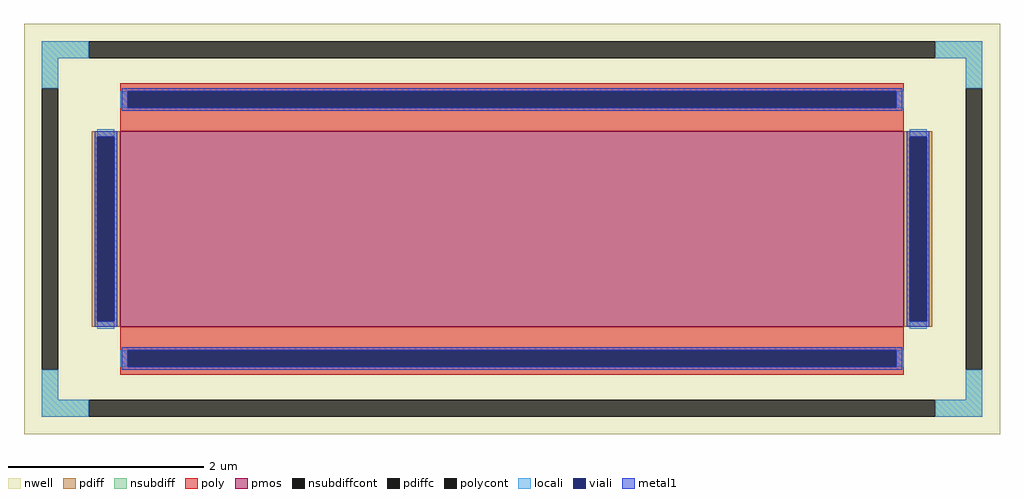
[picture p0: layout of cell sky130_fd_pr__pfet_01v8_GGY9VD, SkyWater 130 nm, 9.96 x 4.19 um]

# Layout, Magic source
magic
tech sky130A
magscale 1 2
<< nwell >>
rect -996 -419 996 419
<< pmos >>
rect -800 -200 800 200
<< pdiff >>
rect -858 188 -800 200
rect -858 -188 -846 188
rect -812 -188 -800 188
rect -858 -200 -800 -188
rect 800 188 858 200
rect 800 -188 812 188
rect 846 -188 858 188
rect 800 -200 858 -188
<< pdiffc >>
rect -846 -188 -812 188
rect 812 -188 846 188
<< nsubdiff >>
rect -960 349 -864 383
rect 864 349 960 383
rect -960 287 -926 349
rect 926 287 960 349
rect -960 -349 -926 -287
rect 926 -349 960 -287
rect -960 -383 -864 -349
rect 864 -383 960 -349
<< nsubdiffcont >>
rect -864 349 864 383
rect -960 -287 -926 287
rect 926 -287 960 287
rect -864 -383 864 -349
<< poly >>
rect -800 281 800 297
rect -800 247 -784 281
rect 784 247 800 281
rect -800 200 800 247
rect -800 -247 800 -200
rect -800 -281 -784 -247
rect 784 -281 800 -247
rect -800 -297 800 -281
<< polycont >>
rect -784 247 784 281
rect -784 -281 784 -247
<< locali >>
rect -960 349 -864 383
rect 864 349 960 383
rect -960 287 -926 349
rect 926 287 960 349
rect -800 247 -784 281
rect 784 247 800 281
rect -846 188 -812 204
rect -846 -204 -812 -188
rect 812 188 846 204
rect 812 -204 846 -188
rect -800 -281 -784 -247
rect 784 -281 800 -247
rect -960 -349 -926 -287
rect 926 -349 960 -287
rect -960 -383 -864 -349
rect 864 -383 960 -349
<< viali >>
rect -784 247 784 281
rect -846 -188 -812 188
rect 812 -188 846 188
rect -784 -281 784 -247
<< metal1 >>
rect -796 281 796 287
rect -796 247 -784 281
rect 784 247 796 281
rect -796 241 796 247
rect -852 188 -806 200
rect -852 -188 -846 188
rect -812 -188 -806 188
rect -852 -200 -806 -188
rect 806 188 852 200
rect 806 -188 812 188
rect 846 -188 852 188
rect 806 -200 852 -188
rect -796 -247 796 -241
rect -796 -281 -784 -247
rect 784 -281 796 -247
rect -796 -287 796 -281
<< properties >>
string FIXED_BBOX -943 -366 943 366
string gencell sky130_fd_pr__pfet_01v8
string library sky130
string parameters w 2.0 l 8.0 m 1 nf 1 diffcov 100 polycov 100 guard 1 glc 1 grc 1 gtc 1 gbc 1 tbcov 100 rlcov 100 topc 1 botc 1 poverlap 0 doverlap 1 lmin 0.15 wmin 0.42 compatible {sky130_fd_pr__pfet_01v8  sky130_fd_pr__pfet_01v8_lvt sky130_fd_pr__pfet_01v8_hvt  sky130_fd_pr__pfet_g5v0d10v5} full_metal 1 viasrc 100 viadrn 100 viagate 100 viagb 0 viagr 0 viagl 0 viagt 0
<< end >>
